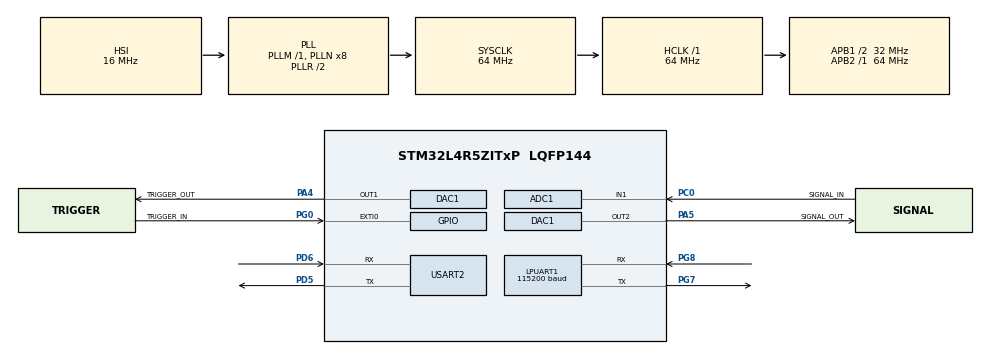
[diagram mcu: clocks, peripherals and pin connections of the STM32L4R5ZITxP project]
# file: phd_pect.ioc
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ADC1.Channel-0\#ChannelRegularConversion=ADC_CHANNEL_1
ADC1.ClockPrescaler=ADC_CLOCK_ASYNC_DIV8
ADC1.ContinuousConvMode=ENABLE
ADC1.DMAContinuousRequests=DISABLE
ADC1.NbrOfConversion=1
ADC1.NbrOfConversionFlag=1
ADC1.OffsetNumber-0\#ChannelRegularConversion=ADC_OFFSET_NONE
ADC1.Rank-0\#ChannelRegularConversion=1
ADC1.Resolution=ADC_RESOLUTION_8B
ADC1.SamplingTime-0\#ChannelRegularConversion=ADC_SAMPLETIME_47CYCLES_5
ADC1.master=1
DAC1.DAC_Channel-DAC_OUT2=DAC_CHANNEL_2
DAC1.DAC_Trigger-DAC_OUT1=DAC_TRIGGER_T1_TRGO
DAC1.DAC_Trigger-DAC_OUT2=DAC_TRIGGER_T1_TRGO
Dma.ADC1.2.Direction=DMA_PERIPH_TO_MEMORY
Dma.ADC1.2.EventEnable=DISABLE
Dma.ADC1.2.Instance=DMA1_Channel3
Dma.ADC1.2.MemDataAlignment=DMA_MDATAALIGN_BYTE
Dma.ADC1.2.MemInc=DMA_MINC_ENABLE
Dma.ADC1.2.Mode=DMA_NORMAL
Dma.ADC1.2.PeriphDataAlignment=DMA_PDATAALIGN_BYTE
Dma.ADC1.2.PeriphInc=DMA_PINC_DISABLE
Dma.ADC1.2.Polarity=HAL_DMAMUX_REQUEST_GEN_RISING
Dma.ADC1.2.Priority=DMA_PRIORITY_LOW
Dma.ADC1.2.RequestNumber=1
Dma.ADC1.2.SignalID=NONE
Dma.ADC1.2.SyncEnable=DISABLE
Dma.ADC1.2.SyncPolarity=HAL_DMAMUX_SYNC_NO_EVENT
Dma.ADC1.2.SyncRequestNumber=1
Dma.ADC1.2.SyncSignalID=NONE
Dma.DAC1_CH1.0.Direction=DMA_MEMORY_TO_PERIPH
Dma.DAC1_CH1.0.EventEnable=DISABLE
Dma.DAC1_CH1.0.Instance=DMA1_Channel1
Dma.DAC1_CH1.0.MemDataAlignment=DMA_MDATAALIGN_BYTE
Dma.DAC1_CH1.0.MemInc=DMA_MINC_ENABLE
Dma.DAC1_CH1.0.Mode=DMA_CIRCULAR
Dma.DAC1_CH1.0.PeriphDataAlignment=DMA_PDATAALIGN_BYTE
Dma.DAC1_CH1.0.PeriphInc=DMA_PINC_DISABLE
Dma.DAC1_CH1.0.Polarity=HAL_DMAMUX_REQUEST_GEN_RISING
Dma.DAC1_CH1.0.Priority=DMA_PRIORITY_HIGH
Dma.DAC1_CH1.0.RequestNumber=1
Dma.DAC1_CH1.0.SignalID=NONE
Dma.DAC1_CH1.0.SyncEnable=DISABLE
Dma.DAC1_CH1.0.SyncPolarity=HAL_DMAMUX_SYNC_NO_EVENT
Dma.DAC1_CH1.0.SyncRequestNumber=1
Dma.DAC1_CH1.0.SyncSignalID=NONE
Dma.DAC1_CH2.1.Direction=DMA_MEMORY_TO_PERIPH
Dma.DAC1_CH2.1.EventEnable=DISABLE
Dma.DAC1_CH2.1.Instance=DMA1_Channel2
Dma.DAC1_CH2.1.MemDataAlignment=DMA_MDATAALIGN_BYTE
Dma.DAC1_CH2.1.MemInc=DMA_MINC_ENABLE
Dma.DAC1_CH2.1.Mode=DMA_CIRCULAR
Dma.DAC1_CH2.1.PeriphDataAlignment=DMA_PDATAALIGN_BYTE
Dma.DAC1_CH2.1.PeriphInc=DMA_PINC_DISABLE
Dma.DAC1_CH2.1.Polarity=HAL_DMAMUX_REQUEST_GEN_RISING
Dma.DAC1_CH2.1.Priority=DMA_PRIORITY_HIGH
Dma.DAC1_CH2.1.RequestNumber=1
Dma.DAC1_CH2.1.SignalID=NONE
Dma.DAC1_CH2.1.SyncEnable=DISABLE
Dma.DAC1_CH2.1.SyncPolarity=HAL_DMAMUX_SYNC_NO_EVENT
Dma.DAC1_CH2.1.SyncRequestNumber=1
Dma.DAC1_CH2.1.SyncSignalID=NONE
Dma.LPUART1_RX.4.Direction=DMA_PERIPH_TO_MEMORY
Dma.LPUART1_RX.4.EventEnable=DISABLE
Dma.LPUART1_RX.4.Instance=DMA1_Channel5
Dma.LPUART1_RX.4.MemDataAlignment=DMA_MDATAALIGN_BYTE
Dma.LPUART1_RX.4.MemInc=DMA_MINC_ENABLE
Dma.LPUART1_RX.4.Mode=DMA_NORMAL
Dma.LPUART1_RX.4.PeriphDataAlignment=DMA_PDATAALIGN_BYTE
Dma.LPUART1_RX.4.PeriphInc=DMA_PINC_DISABLE
Dma.LPUART1_RX.4.Polarity=HAL_DMAMUX_REQUEST_GEN_RISING
Dma.LPUART1_RX.4.Priority=DMA_PRIORITY_LOW
Dma.LPUART1_RX.4.RequestNumber=1
Dma.LPUART1_RX.4.SignalID=NONE
Dma.LPUART1_RX.4.SyncEnable=DISABLE
Dma.LPUART1_RX.4.SyncPolarity=HAL_DMAMUX_SYNC_NO_EVENT
Dma.LPUART1_RX.4.SyncRequestNumber=1
Dma.LPUART1_RX.4.SyncSignalID=NONE
Dma.LPUART1_TX.3.Direction=DMA_MEMORY_TO_PERIPH
Dma.LPUART1_TX.3.EventEnable=DISABLE
Dma.LPUART1_TX.3.Instance=DMA1_Channel4
Dma.LPUART1_TX.3.MemDataAlignment=DMA_MDATAALIGN_BYTE
Dma.LPUART1_TX.3.MemInc=DMA_MINC_ENABLE
Dma.LPUART1_TX.3.Mode=DMA_NORMAL
Dma.LPUART1_TX.3.PeriphDataAlignment=DMA_PDATAALIGN_BYTE
Dma.LPUART1_TX.3.PeriphInc=DMA_PINC_DISABLE
Dma.LPUART1_TX.3.Polarity=HAL_DMAMUX_REQUEST_GEN_RISING
Dma.LPUART1_TX.3.Priority=DMA_PRIORITY_LOW
Dma.LPUART1_TX.3.RequestNumber=1
Dma.LPUART1_TX.3.SignalID=NONE
Dma.LPUART1_TX.3.SyncEnable=DISABLE
Dma.LPUART1_TX.3.SyncPolarity=HAL_DMAMUX_SYNC_NO_EVENT
Dma.LPUART1_TX.3.SyncRequestNumber=1
Dma.LPUART1_TX.3.SyncSignalID=NONE
Dma.Request0=DAC1_CH1
Dma.Request1=DAC1_CH2
Dma.Request2=ADC1
Dma.Request3=LPUART1_TX
Dma.Request4=LPUART1_RX
Dma.Request5=USART2_RX
Dma.Request6=USART2_TX
Dma.USART2_RX.5.Direction=DMA_PERIPH_TO_MEMORY
Dma.USART2_RX.5.EventEnable=DISABLE
Dma.USART2_RX.5.Instance=DMA1_Channel6
Dma.USART2_RX.5.MemDataAlignment=DMA_MDATAALIGN_BYTE
Dma.USART2_RX.5.MemInc=DMA_MINC_ENABLE
Dma.USART2_RX.5.Mode=DMA_NORMAL
Dma.USART2_RX.5.PeriphDataAlignment=DMA_PDATAALIGN_BYTE
Dma.USART2_RX.5.PeriphInc=DMA_PINC_DISABLE
Dma.USART2_RX.5.Polarity=HAL_DMAMUX_REQUEST_GEN_RISING
Dma.USART2_RX.5.Priority=DMA_PRIORITY_LOW
Dma.USART2_RX.5.RequestNumber=1
Dma.USART2_RX.5.SignalID=NONE
Dma.USART2_RX.5.SyncEnable=DISABLE
Dma.USART2_RX.5.SyncPolarity=HAL_DMAMUX_SYNC_NO_EVENT
Dma.USART2_RX.5.SyncRequestNumber=1
Dma.USART2_RX.5.SyncSignalID=NONE
Dma.USART2_TX.6.Direction=DMA_MEMORY_TO_PERIPH
Dma.USART2_TX.6.EventEnable=DISABLE
Dma.USART2_TX.6.Instance=DMA1_Channel7
Dma.USART2_TX.6.MemDataAlignment=DMA_MDATAALIGN_BYTE
Dma.USART2_TX.6.MemInc=DMA_MINC_ENABLE
Dma.USART2_TX.6.Mode=DMA_NORMAL
Dma.USART2_TX.6.PeriphDataAlignment=DMA_PDATAALIGN_BYTE
Dma.USART2_TX.6.PeriphInc=DMA_PINC_DISABLE
Dma.USART2_TX.6.Polarity=HAL_DMAMUX_REQUEST_GEN_RISING
Dma.USART2_TX.6.Priority=DMA_PRIORITY_LOW
Dma.USART2_TX.6.RequestNumber=1
Dma.USART2_TX.6.SignalID=NONE
Dma.USART2_TX.6.SyncEnable=DISABLE
Dma.USART2_TX.6.SyncPolarity=HAL_DMAMUX_SYNC_NO_EVENT
Dma.USART2_TX.6.SyncRequestNumber=1
Dma.USART2_TX.6.SyncSignalID=NONE
LPUART1.BaudRate=115200
LPUART1.WordLength=UART_WORDLENGTH_8B
Mcu.Family=STM32L4
Mcu.Name=STM32L4R5ZITxP
Mcu.Package=LQFP144
NVIC.ADC1_IRQn=true\:0\:0\:false\:false\:true\:true\:true\:true
NVIC.DMA1_Channel1_IRQn=true\:0\:0\:false\:false\:true\:false\:true\:true
NVIC.DMA1_Channel2_IRQn=true\:0\:0\:false\:false\:true\:false\:true\:true
NVIC.DMA1_Channel3_IRQn=true\:0\:0\:false\:false\:true\:false\:true\:true
NVIC.DMA1_Channel4_IRQn=true\:0\:0\:false\:false\:true\:false\:true\:true
NVIC.DMA1_Channel5_IRQn=true\:0\:0\:false\:false\:true\:false\:true\:true
NVIC.DMA1_Channel6_IRQn=true\:0\:0\:false\:false\:true\:false\:true\:true
NVIC.DMA1_Channel7_IRQn=true\:0\:0\:false\:false\:true\:false\:true\:true
NVIC.EXTI0_IRQn=true\:0\:0\:false\:false\:true\:true\:true\:true
NVIC.LPUART1_IRQn=true\:0\:0\:false\:false\:true\:true\:true\:true
NVIC.PriorityGroup=NVIC_PRIORITYGROUP_4
PA0.Signal=S_TIM2_CH1
PA1.Signal=ADCx_IN6
PA10.Signal=USB_OTG_FS_ID
PA13\ (JTMS/SWDIO).Mode=Serial_Wire
PA13\ (JTMS/SWDIO).Signal=SYS_JTMS-SWDIO
PA14\ (JTCK/SWCLK).Mode=Serial_Wire
PA14\ (JTCK/SWCLK).Signal=SYS_JTCK-SWCLK
PA3.Signal=ADCx_IN8
PA4.GPIO_Label=TRIGGER_OUT
PA4.Signal=COMP_DAC11_group
PA5.GPIO_Label=SIGNAL_OUT
PA5.Signal=COMP_DAC12_group
PA6.Signal=SPI1_MISO
PA7.Signal=SPI1_MOSI
PA8.Signal=USB_OTG_FS_SOF
PA9.Signal=USB_OTG_FS_VBUS
PB0.Signal=S_TIM3_CH3
PB1.Signal=ADCx_IN16
PB10.Signal=S_TIM2_CH3
PB12.Signal=SAI2_FS_A
PB13.Signal=SAI2_SCK_A
PB14.Signal=S_TIM15_CH1
PB15.Signal=SAI2_SD_A
PB2.Signal=COMP1_INP
PB3\ (JTDO/TRACESWO).Signal=SPI3_SCK
PB4\ (NJTRST).Signal=SPI3_MISO
PB5.Signal=SPI3_MOSI
PB6.Signal=COMP2_INP
PB8.GPIO_Pu=GPIO_PULLUP
PB8.Signal=I2C1_SCL
PB9.GPIO_Pu=GPIO_PULLUP
PB9.Signal=I2C1_SDA
PC0.GPIO_Label=SIGNAL_IN
PC0.Signal=ADCx_IN1
PC1.Signal=ADCx_IN2
PC10.Signal=SDMMC1_D2
PC11.Signal=SDMMC1_D3
PC12.Signal=SDMMC1_CK
PC13.Mode=SYS_WakeUp1
PC13.Signal=SYS_WKUP2
PC14-OSC32_IN\ (PC14).Mode=LSE-External-Oscillator
PC14-OSC32_IN\ (PC14).Signal=RCC_OSC32_IN
PC15-OSC32_OUT\ (PC15).Mode=LSE-External-Oscillator
PC15-OSC32_OUT\ (PC15).Signal=RCC_OSC32_OUT
PC2.Signal=ADCx_IN3
PC3.Signal=ADCx_IN4
PC4.Signal=ADCx_IN13
PC5.Signal=ADCx_IN14
PC6.Signal=SAI2_MCLK_A
PC7.Signal=S_TIM3_CH2
PC8.Signal=SDMMC1_D0
PC9.Signal=SDMMC1_D1
PD0.Signal=CAN1_RX
PD14.Signal=S_TIM4_CH3
PD15.Signal=S_TIM4_CH4
PD2.Signal=SDMMC1_CMD
PD3.Signal=USART2_CTS
PD4.Signal=USART2_RTS
PD5.Mode=Asynchronous
PD5.Signal=USART2_TX
PD6.Mode=Asynchronous
PD6.Signal=USART2_RX
PD8.Signal=USART3_TX
PD9.Signal=USART3_RX
PE0.Signal=S_TIM4_ETR
PE10.Signal=TIM1_CH2N
PE11.Signal=S_TIM1_CH2
PE12.Signal=TIM1_CH3N
PE13.Signal=S_TIM1_CH3
PE14.Signal=TIM1_BKIN2
PE15.Signal=TIM1_BKIN
PE2.Signal=SAI1_MCLK_A
PE3.Signal=SAI1_SD_B
PE7.Signal=S_TIM1_ETR
PE8.Signal=TIM1_CH1N
PE9.Signal=S_TIM1_CH1
PF0.GPIO_Pu=GPIO_PULLUP
PF0.Signal=I2C2_SDA
PF1.GPIO_Pu=GPIO_PULLUP
PF1.Signal=I2C2_SCL
PF2.GPIO_Pu=GPIO_PULLUP
PF2.Signal=I2C2_SMBA
PF7.Signal=SAI1_MCLK_B
PG0.GPIO_Label=TRIGGER_IN
PG0.Signal=GPXTI0
PG7.Mode=Asynchronous
PG7.Signal=LPUART1_TX
PG8.Mode=Asynchronous
PG8.Signal=LPUART1_RX
PH0-OSC_IN\ (PH0).Mode=HSE-External-Oscillator
PH0-OSC_IN\ (PH0).Signal=RCC_OSC_IN
PH1-OSC_OUT\ (PH1).Mode=HSE-External-Oscillator
PH1-OSC_OUT\ (PH1).Signal=RCC_OSC_OUT
ProjectManager.HeapSize=0x800
ProjectManager.StackSize=0x800
ProjectManager.TargetToolchain=STM32CubeIDE
RCC.ADCFreq_Value=64000000
RCC.AHBFreq_Value=64000000
RCC.APB1CLKDivider=RCC_HCLK_DIV2
RCC.APB1Freq_Value=32000000
RCC.APB1TimFreq_Value=64000000
RCC.APB2Freq_Value=64000000
RCC.APB2TimFreq_Value=64000000
RCC.CK48CLockSelection=RCC_USBCLKSOURCE_HSI48
RCC.CortexFreq_Value=64000000
RCC.HCLKFreq_Value=64000000
RCC.HSE_VALUE=8000000
RCC.HSI48_VALUE=48000000
RCC.HSI_VALUE=16000000
RCC.MSIClockRange=RCC_MSIRANGE_8
RCC.MSI_VALUE=16000000
RCC.PLLMUL=RCC_PLL_MUL9
RCC.PLLSourceVirtual=RCC_PLLSOURCE_HSI
RCC.PRESCALERUSB=RCC_USBCLKSOURCE_PLL_DIV1_5
RCC.SYSCLKFreq_VALUE=64000000
RCC.SYSCLKSource=RCC_SYSCLKSOURCE_PLLCLK
RCC.SYSCLKSourceVirtual=RCC_SYSCLKSOURCE_PLLCLK
RCC.USBFreq_Value=48000000
RCC.VCOOutputFreq_Value=128000000
SH.ADCx_IN1.0=ADC1_IN1,IN1-Single-Ended
SH.ADCx_IN13.0=ADC1_IN13
SH.ADCx_IN14.0=ADC1_IN14
SH.ADCx_IN16.0=ADC1_IN16
SH.ADCx_IN2.0=ADC1_IN2
SH.ADCx_IN3.0=ADC1_IN3
SH.ADCx_IN4.0=ADC1_IN4
SH.ADCx_IN6.0=ADC1_IN6
SH.ADCx_IN8.0=ADC1_IN8
SH.COMP_DAC11_group.0=DAC1_OUT1,DAC_OUT1
SH.COMP_DAC12_group.0=DAC1_OUT2,DAC_OUT2
SH.S_TIM15_CH1.0=TIM15_CH1
SH.S_TIM1_CH1.0=TIM1_CH1
SH.S_TIM1_CH2.0=TIM1_CH2
SH.S_TIM1_CH3.0=TIM1_CH3
SH.S_TIM1_ETR.0=TIM1_ETR
SH.S_TIM2_CH1.0=TIM2_CH1
SH.S_TIM2_CH3.0=TIM2_CH3
SH.S_TIM3_CH2.0=TIM3_CH2
SH.S_TIM3_CH3.0=TIM3_CH3
SH.S_TIM4_CH3.0=TIM4_CH3
SH.S_TIM4_CH4.0=TIM4_CH4
SH.S_TIM4_ETR.0=TIM4_ETR
STMicroelectronics.X-CUBE-AI.8.1.0.ActivationBufferSizeList=65992
STMicroelectronics.X-CUBE-AI.8.1.0.ActivationBuffers=pool0
STMicroelectronics.X-CUBE-AI.8.1.0.ActivationNames=pool0
STMicroelectronics.X-CUBE-AI.8.1.0.ActivationSizes=AI_NETWORK_DATA_ACTIVATION_1_SIZE
STMicroelectronics.X-CUBE-AI.8.1.0.HeapSize=0x800
STMicroelectronics.X-CUBE-AI.8.1.0.InternalRamActivationBufferMaxSize=AI_NETWORK_DATA_ACTIVATIONS_SIZE
STMicroelectronics.X-CUBE-AI.8.1.0.LatestDirectoryUsed-82cd0095fdd4a901a3c301f4ca766c086ad259d40a53a4f20882cec86785ef64=C\:\\Users\\admin\\Desktop
STMicroelectronics.X-CUBE-AI.8.1.0.MaximumNumberOfInputLayer=1
STMicroelectronics.X-CUBE-AI.8.1.0.MaximumNumberOfOutputLayer=1
STMicroelectronics.X-CUBE-AI.8.1.0.MaximumSizeOfInputLayer=1
STMicroelectronics.X-CUBE-AI.8.1.0.MaximumSizeOfOutputLayer=1
STMicroelectronics.X-CUBE-AI.8.1.0.ModelActualCompression-82cd0095fdd4a901a3c301f4ca766c086ad259d40a53a4f20882cec86785ef64=0.0
STMicroelectronics.X-CUBE-AI.8.1.0.ModelActualCompression-88c5964a47711c70269f32515e8612c6e91d3b238968c062fb0df6d5431c2e7c=0.0
STMicroelectronics.X-CUBE-AI.8.1.0.ModelCompression-82cd0095fdd4a901a3c301f4ca766c086ad259d40a53a4f20882cec86785ef64=None
STMicroelectronics.X-CUBE-AI.8.1.0.ModelFlashOccupation-82cd0095fdd4a901a3c301f4ca766c086ad259d40a53a4f20882cec86785ef64=703998
STMicroelectronics.X-CUBE-AI.8.1.0.ModelFlashOccupation-88c5964a47711c70269f32515e8612c6e91d3b238968c062fb0df6d5431c2e7c=1427002
STMicroelectronics.X-CUBE-AI.8.1.0.ModelHashList=82cd0095fdd4a901a3c301f4ca766c086ad259d40a53a4f20882cec86785ef64
STMicroelectronics.X-CUBE-AI.8.1.0.ModelKind-82cd0095fdd4a901a3c301f4ca766c086ad259d40a53a4f20882cec86785ef64=TFLITE
STMicroelectronics.X-CUBE-AI.8.1.0.ModelMacc-82cd0095fdd4a901a3c301f4ca766c086ad259d40a53a4f20882cec86785ef64=1241392
STMicroelectronics.X-CUBE-AI.8.1.0.ModelMacc-88c5964a47711c70269f32515e8612c6e91d3b238968c062fb0df6d5431c2e7c=3358896
STMicroelectronics.X-CUBE-AI.8.1.0.ModelName-82cd0095fdd4a901a3c301f4ca766c086ad259d40a53a4f20882cec86785ef64=network
STMicroelectronics.X-CUBE-AI.8.1.0.ModelNameList=network
STMicroelectronics.X-CUBE-AI.8.1.0.ModelRamOccupation-82cd0095fdd4a901a3c301f4ca766c086ad259d40a53a4f20882cec86785ef64=65992
STMicroelectronics.X-CUBE-AI.8.1.0.ModelRamOccupation-88c5964a47711c70269f32515e8612c6e91d3b238968c062fb0df6d5431c2e7c=67196
STMicroelectronics.X-CUBE-AI.8.1.0.ModelStructureFile-82cd0095fdd4a901a3c301f4ca766c086ad259d40a53a4f20882cec86785ef64=C\:\\Users\\admin\\Desktop\\NDT_model (1).tflite
STMicroelectronics.X-CUBE-AI.8.1.0.ModelType-82cd0095fdd4a901a3c301f4ca766c086ad259d40a53a4f20882cec86785ef64=STM32Cube.AI runtime
STMicroelectronics.X-CUBE-AI.8.1.0.ReadyForCodeGeneration=true
STMicroelectronics.X-CUBE-AI.8.1.0.StackSize=0x800
STMicroelectronics.X-CUBE-AI.8.1.0.WorkingBufferStartAddrList=0xFFFFFFFF
STMicroelectronics.X-CUBE-AI.8.1.0.XAaCUBEAaAICcArtificialOoIntelligenceJjCore=true
STMicroelectronics.X-CUBE-AI.8.1.0.copyWeightToRam=false
STMicroelectronics.X-CUBE-AI.8.1.0.copyWeightToRam-82cd0095fdd4a901a3c301f4ca766c086ad259d40a53a4f20882cec86785ef64=false
STMicroelectronics.X-CUBE-AI.8.1.0.customLayerConfigEnabled=false
STMicroelectronics.X-CUBE-AI.8.1.0.customLayerConfigEnabled-82cd0095fdd4a901a3c301f4ca766c086ad259d40a53a4f20882cec86785ef64=false
STMicroelectronics.X-CUBE-AI.8.1.0.noOnnxIoTranspose=false
STMicroelectronics.X-CUBE-AI.8.1.0.noOnnxIoTranspose-82cd0095fdd4a901a3c301f4ca766c086ad259d40a53a4f20882cec86785ef64=false
STMicroelectronics.X-CUBE-AI.8.1.0.useInputAllocation=true
STMicroelectronics.X-CUBE-AI.8.1.0.useInputAllocation-82cd0095fdd4a901a3c301f4ca766c086ad259d40a53a4f20882cec86785ef64=true
STMicroelectronics.X-CUBE-AI.8.1.0.useOutputAllocation=true
STMicroelectronics.X-CUBE-AI.8.1.0.useOutputAllocation-82cd0095fdd4a901a3c301f4ca766c086ad259d40a53a4f20882cec86785ef64=true
TIM1.Period=31
TIM1.Prescaler=9
TIM1.TIM_MasterOutputTrigger=TIM_TRGO_UPDATE
TIM1.TIM_MasterOutputTrigger2=TIM_TRGO2_UPDATE
USART2.VirtualMode-Asynchronous=VM_ASYNC
VP_CRC_VS_CRC.Mode=CRC_Activate
VP_STMicroelectronics.X-CUBE-AI_VS_ArtificialOoIntelligenceJjXAaCUBEAaAI_8.1.0.Mode=ArtificialOoIntelligenceJjXAaCUBEAaAI
VP_TIM1_VS_ClockSourceINT.Mode=Internal
board=NUCLEO-L4R5ZI-P

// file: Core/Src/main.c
/* USER CODE BEGIN Header */
/**
  ******************************************************************************
  * @file           : main.c
  * @brief          : Main program body
  ******************************************************************************
  * @attention
  *
  * Copyright (c) 2023 STMicroelectronics.
  * All rights reserved.
  *
  * This software is licensed under terms that can be found in the LICENSE file
  * in the root directory of this software component.
  * If no LICENSE file comes with this software, it is provided AS-IS.
  *
  ******************************************************************************
  */
/* USER CODE END Header */
#include "main.h"

/* USER CODE BEGIN Includes */
#include "controller.h"

/* USER CODE END Includes */

ADC_HandleTypeDef hadc1;
DMA_HandleTypeDef hdma_adc1;

CRC_HandleTypeDef hcrc;

DAC_HandleTypeDef hdac1;
DMA_HandleTypeDef hdma_dac1_ch1;
DMA_HandleTypeDef hdma_dac1_ch2;

UART_HandleTypeDef hlpuart1;
UART_HandleTypeDef huart2;
DMA_HandleTypeDef hdma_lpuart1_tx;
DMA_HandleTypeDef hdma_lpuart1_rx;
DMA_HandleTypeDef hdma_usart2_rx;
DMA_HandleTypeDef hdma_usart2_tx;

TIM_HandleTypeDef htim1;

void SystemClock_Config(void);
static void MX_GPIO_Init(void);
static void MX_DMA_Init(void);
static void MX_LPUART1_UART_Init(void);
static void MX_ADC1_Init(void);
static void MX_DAC1_Init(void);
static void MX_TIM1_Init(void);
static void MX_CRC_Init(void);
static void MX_USART2_UART_Init(void);

int main(void)
{

  /* MCU Configuration--------------------------------------------------------*/

  /* Reset of all peripherals, Initializes the Flash interface and the Systick. */
  HAL_Init();

  /* Configure the system clock */
  SystemClock_Config();

  /* Initialize all configured peripherals */
  MX_GPIO_Init();
  MX_DMA_Init();
  MX_LPUART1_UART_Init();
  MX_ADC1_Init();
  MX_DAC1_Init();
  MX_TIM1_Init();
  MX_CRC_Init();
  MX_USART2_UART_Init();
  /* USER CODE BEGIN 2 */
  con_init(&hadc1, &hdac1, &htim1, &hlpuart1);
  con_start();
  /* USER CODE END 2 */

  /* Infinite loop */
  while (1)
  {

    /* USER CODE BEGIN 3 */
  }
  con_destroy();
  /* USER CODE END 3 */
}

void SystemClock_Config(void)
{
  RCC_OscInitTypeDef RCC_OscInitStruct = {0};
  RCC_ClkInitTypeDef RCC_ClkInitStruct = {0};

  /** Configure the main internal regulator output voltage
  */
  if (HAL_PWREx_ControlVoltageScaling(PWR_REGULATOR_VOLTAGE_SCALE1) != HAL_OK)
  {
    Error_Handler();
  }

  /** Initializes the RCC Oscillators according to the specified parameters
  * in the RCC_OscInitTypeDef structure.
  */
  RCC_OscInitStruct.OscillatorType = RCC_OSCILLATORTYPE_HSI;
  RCC_OscInitStruct.HSIState = RCC_HSI_ON;
  RCC_OscInitStruct.HSICalibrationValue = RCC_HSICALIBRATION_DEFAULT;
  RCC_OscInitStruct.PLL.PLLState = RCC_PLL_ON;
  RCC_OscInitStruct.PLL.PLLSource = RCC_PLLSOURCE_HSI;
  RCC_OscInitStruct.PLL.PLLM = 1;
  RCC_OscInitStruct.PLL.PLLN = 8;
  RCC_OscInitStruct.PLL.PLLP = RCC_PLLP_DIV2;
  RCC_OscInitStruct.PLL.PLLQ = RCC_PLLQ_DIV2;
  RCC_OscInitStruct.PLL.PLLR = RCC_PLLR_DIV2;
  if (HAL_RCC_OscConfig(&RCC_OscInitStruct) != HAL_OK)
  {
    Error_Handler();
  }

  /** Initializes the CPU, AHB and APB buses clocks
  */
  RCC_ClkInitStruct.ClockType = RCC_CLOCKTYPE_HCLK|RCC_CLOCKTYPE_SYSCLK
                              |RCC_CLOCKTYPE_PCLK1|RCC_CLOCKTYPE_PCLK2;
  RCC_ClkInitStruct.SYSCLKSource = RCC_SYSCLKSOURCE_PLLCLK;
  RCC_ClkInitStruct.AHBCLKDivider = RCC_SYSCLK_DIV1;
  RCC_ClkInitStruct.APB1CLKDivider = RCC_HCLK_DIV2;
  RCC_ClkInitStruct.APB2CLKDivider = RCC_HCLK_DIV1;

  if (HAL_RCC_ClockConfig(&RCC_ClkInitStruct, FLASH_LATENCY_3) != HAL_OK)
  {
    Error_Handler();
  }
}

static void MX_ADC1_Init(void)
{

  ADC_ChannelConfTypeDef sConfig = {0};

  /** Common config
  */
  hadc1.Instance = ADC1;
  hadc1.Init.ClockPrescaler = ADC_CLOCK_ASYNC_DIV8;
  hadc1.Init.Resolution = ADC_RESOLUTION_8B;
  hadc1.Init.DataAlign = ADC_DATAALIGN_RIGHT;
  hadc1.Init.ScanConvMode = ADC_SCAN_DISABLE;
  hadc1.Init.EOCSelection = ADC_EOC_SINGLE_CONV;
  hadc1.Init.LowPowerAutoWait = DISABLE;
  hadc1.Init.ContinuousConvMode = ENABLE;
  hadc1.Init.NbrOfConversion = 1;
  hadc1.Init.DiscontinuousConvMode = DISABLE;
  hadc1.Init.ExternalTrigConv = ADC_SOFTWARE_START;
  hadc1.Init.ExternalTrigConvEdge = ADC_EXTERNALTRIGCONVEDGE_NONE;
  hadc1.Init.DMAContinuousRequests = DISABLE;
  hadc1.Init.Overrun = ADC_OVR_DATA_PRESERVED;
  hadc1.Init.OversamplingMode = DISABLE;
  if (HAL_ADC_Init(&hadc1) != HAL_OK)
  {
    Error_Handler();
  }

  /** Configure Regular Channel
  */
  sConfig.Channel = ADC_CHANNEL_1;
  sConfig.Rank = ADC_REGULAR_RANK_1;
  sConfig.SamplingTime = ADC_SAMPLETIME_47CYCLES_5;
  sConfig.SingleDiff = ADC_SINGLE_ENDED;
  sConfig.OffsetNumber = ADC_OFFSET_NONE;
  sConfig.Offset = 0;
  if (HAL_ADC_ConfigChannel(&hadc1, &sConfig) != HAL_OK)
  {
    Error_Handler();
  }

}

static void MX_CRC_Init(void)
{

  hcrc.Instance = CRC;
  hcrc.Init.DefaultPolynomialUse = DEFAULT_POLYNOMIAL_ENABLE;
  hcrc.Init.DefaultInitValueUse = DEFAULT_INIT_VALUE_ENABLE;
  hcrc.Init.InputDataInversionMode = CRC_INPUTDATA_INVERSION_NONE;
  hcrc.Init.OutputDataInversionMode = CRC_OUTPUTDATA_INVERSION_DISABLE;
  hcrc.InputDataFormat = CRC_INPUTDATA_FORMAT_BYTES;
  if (HAL_CRC_Init(&hcrc) != HAL_OK)
  {
    Error_Handler();
  }

}

static void MX_DAC1_Init(void)
{

  DAC_ChannelConfTypeDef sConfig = {0};

  /** DAC Initialization
  */
  hdac1.Instance = DAC1;
  if (HAL_DAC_Init(&hdac1) != HAL_OK)
  {
    Error_Handler();
  }

  /** DAC channel OUT1 config
  */
  sConfig.DAC_SampleAndHold = DAC_SAMPLEANDHOLD_DISABLE;
  sConfig.DAC_Trigger = DAC_TRIGGER_T1_TRGO;
  sConfig.DAC_HighFrequency = DAC_HIGH_FREQUENCY_INTERFACE_MODE_DISABLE;
  sConfig.DAC_OutputBuffer = DAC_OUTPUTBUFFER_ENABLE;
  sConfig.DAC_ConnectOnChipPeripheral = DAC_CHIPCONNECT_DISABLE;
  sConfig.DAC_UserTrimming = DAC_TRIMMING_FACTORY;
  if (HAL_DAC_ConfigChannel(&hdac1, &sConfig, DAC_CHANNEL_1) != HAL_OK)
  {
    Error_Handler();
  }

  /** DAC channel OUT2 config
  */
  if (HAL_DAC_ConfigChannel(&hdac1, &sConfig, DAC_CHANNEL_2) != HAL_OK)
  {
    Error_Handler();
  }

}

static void MX_LPUART1_UART_Init(void)
{

  hlpuart1.Instance = LPUART1;
  hlpuart1.Init.BaudRate = 115200;
  hlpuart1.Init.WordLength = UART_WORDLENGTH_8B;
  hlpuart1.Init.StopBits = UART_STOPBITS_1;
  hlpuart1.Init.Parity = UART_PARITY_NONE;
  hlpuart1.Init.Mode = UART_MODE_TX_RX;
  hlpuart1.Init.HwFlowCtl = UART_HWCONTROL_NONE;
  hlpuart1.Init.OneBitSampling = UART_ONE_BIT_SAMPLE_DISABLE;
  hlpuart1.Init.ClockPrescaler = UART_PRESCALER_DIV1;
  hlpuart1.AdvancedInit.AdvFeatureInit = UART_ADVFEATURE_NO_INIT;
  hlpuart1.FifoMode = UART_FIFOMODE_DISABLE;
  if (HAL_UART_Init(&hlpuart1) != HAL_OK)
  {
    Error_Handler();
  }
  if (HAL_UARTEx_SetTxFifoThreshold(&hlpuart1, UART_TXFIFO_THRESHOLD_1_8) != HAL_OK)
  {
    Error_Handler();
  }
  if (HAL_UARTEx_SetRxFifoThreshold(&hlpuart1, UART_RXFIFO_THRESHOLD_1_8) != HAL_OK)
  {
    Error_Handler();
  }
  if (HAL_UARTEx_DisableFifoMode(&hlpuart1) != HAL_OK)
  {
    Error_Handler();
  }

}

static void MX_USART2_UART_Init(void)
{

  huart2.Instance = USART2;
  huart2.Init.BaudRate = 115200;
  huart2.Init.WordLength = UART_WORDLENGTH_8B;
  huart2.Init.StopBits = UART_STOPBITS_1;
  huart2.Init.Parity = UART_PARITY_NONE;
  huart2.Init.Mode = UART_MODE_TX_RX;
  huart2.Init.HwFlowCtl = UART_HWCONTROL_NONE;
  huart2.Init.OverSampling = UART_OVERSAMPLING_16;
  huart2.Init.OneBitSampling = UART_ONE_BIT_SAMPLE_DISABLE;
  huart2.Init.ClockPrescaler = UART_PRESCALER_DIV1;
  huart2.AdvancedInit.AdvFeatureInit = UART_ADVFEATURE_NO_INIT;
  if (HAL_UART_Init(&huart2) != HAL_OK)
  {
    Error_Handler();
  }
  if (HAL_UARTEx_SetTxFifoThreshold(&huart2, UART_TXFIFO_THRESHOLD_1_8) != HAL_OK)
  {
    Error_Handler();
  }
  if (HAL_UARTEx_SetRxFifoThreshold(&huart2, UART_RXFIFO_THRESHOLD_1_8) != HAL_OK)
  {
    Error_Handler();
  }
  if (HAL_UARTEx_DisableFifoMode(&huart2) != HAL_OK)
  {
    Error_Handler();
  }

}

static void MX_TIM1_Init(void)
{

  TIM_ClockConfigTypeDef sClockSourceConfig = {0};
  TIM_MasterConfigTypeDef sMasterConfig = {0};

  htim1.Instance = TIM1;
  htim1.Init.Prescaler = 9;
  htim1.Init.CounterMode = TIM_COUNTERMODE_UP;
  htim1.Init.Period = 31;
  htim1.Init.ClockDivision = TIM_CLOCKDIVISION_DIV1;
  htim1.Init.RepetitionCounter = 0;
  htim1.Init.AutoReloadPreload = TIM_AUTORELOAD_PRELOAD_DISABLE;
  if (HAL_TIM_Base_Init(&htim1) != HAL_OK)
  {
    Error_Handler();
  }
  sClockSourceConfig.ClockSource = TIM_CLOCKSOURCE_INTERNAL;
  if (HAL_TIM_ConfigClockSource(&htim1, &sClockSourceConfig) != HAL_OK)
  {
    Error_Handler();
  }
  sMasterConfig.MasterOutputTrigger = TIM_TRGO_UPDATE;
  sMasterConfig.MasterOutputTrigger2 = TIM_TRGO2_UPDATE;
  sMasterConfig.MasterSlaveMode = TIM_MASTERSLAVEMODE_DISABLE;
  if (HAL_TIMEx_MasterConfigSynchronization(&htim1, &sMasterConfig) != HAL_OK)
  {
    Error_Handler();
  }

}

static void MX_DMA_Init(void)
{

  /* DMA controller clock enable */
  __HAL_RCC_DMAMUX1_CLK_ENABLE();
  __HAL_RCC_DMA1_CLK_ENABLE();

  /* DMA interrupt init */
  /* DMA1_Channel1_IRQn interrupt configuration */
  HAL_NVIC_SetPriority(DMA1_Channel1_IRQn, 0, 0);
  HAL_NVIC_EnableIRQ(DMA1_Channel1_IRQn);
  /* DMA1_Channel2_IRQn interrupt configuration */
  HAL_NVIC_SetPriority(DMA1_Channel2_IRQn, 0, 0);
  HAL_NVIC_EnableIRQ(DMA1_Channel2_IRQn);
  /* DMA1_Channel3_IRQn interrupt configuration */
  HAL_NVIC_SetPriority(DMA1_Channel3_IRQn, 0, 0);
  HAL_NVIC_EnableIRQ(DMA1_Channel3_IRQn);
  /* DMA1_Channel4_IRQn interrupt configuration */
  HAL_NVIC_SetPriority(DMA1_Channel4_IRQn, 0, 0);
  HAL_NVIC_EnableIRQ(DMA1_Channel4_IRQn);
  /* DMA1_Channel5_IRQn interrupt configuration */
  HAL_NVIC_SetPriority(DMA1_Channel5_IRQn, 0, 0);
  HAL_NVIC_EnableIRQ(DMA1_Channel5_IRQn);
  /* DMA1_Channel6_IRQn interrupt configuration */
  HAL_NVIC_SetPriority(DMA1_Channel6_IRQn, 0, 0);
  HAL_NVIC_EnableIRQ(DMA1_Channel6_IRQn);
  /* DMA1_Channel7_IRQn interrupt configuration */
  HAL_NVIC_SetPriority(DMA1_Channel7_IRQn, 0, 0);
  HAL_NVIC_EnableIRQ(DMA1_Channel7_IRQn);

}

static void MX_GPIO_Init(void)
{
  GPIO_InitTypeDef GPIO_InitStruct = {0};

  /* GPIO Ports Clock Enable */
  __HAL_RCC_GPIOE_CLK_ENABLE();
  __HAL_RCC_GPIOC_CLK_ENABLE();
  __HAL_RCC_GPIOF_CLK_ENABLE();
  __HAL_RCC_GPIOH_CLK_ENABLE();
  __HAL_RCC_GPIOA_CLK_ENABLE();
  __HAL_RCC_GPIOB_CLK_ENABLE();
  __HAL_RCC_GPIOG_CLK_ENABLE();
  __HAL_RCC_GPIOD_CLK_ENABLE();
  HAL_PWREx_EnableVddIO2();

  /*Configure GPIO pins : PE2 PE3 */
  GPIO_InitStruct.Pin = GPIO_PIN_2|GPIO_PIN_3;
  GPIO_InitStruct.Mode = GPIO_MODE_AF_PP;
  GPIO_InitStruct.Pull = GPIO_NOPULL;
  GPIO_InitStruct.Speed = GPIO_SPEED_FREQ_LOW;
  GPIO_InitStruct.Alternate = GPIO_AF13_SAI1;
  HAL_GPIO_Init(GPIOE, &GPIO_InitStruct);

  /*Configure GPIO pins : PF0 PF1 PF2 */
  GPIO_InitStruct.Pin = GPIO_PIN_0|GPIO_PIN_1|GPIO_PIN_2;
  GPIO_InitStruct.Mode = GPIO_MODE_AF_OD;
  GPIO_InitStruct.Pull = GPIO_PULLUP;
  GPIO_InitStruct.Speed = GPIO_SPEED_FREQ_VERY_HIGH;
  GPIO_InitStruct.Alternate = GPIO_AF4_I2C2;
  HAL_GPIO_Init(GPIOF, &GPIO_InitStruct);

  /*Configure GPIO pin : PF7 */
  GPIO_InitStruct.Pin = GPIO_PIN_7;
  GPIO_InitStruct.Mode = GPIO_MODE_AF_PP;
  GPIO_InitStruct.Pull = GPIO_NOPULL;
  GPIO_InitStruct.Speed = GPIO_SPEED_FREQ_LOW;
  GPIO_InitStruct.Alternate = GPIO_AF13_SAI1;
  HAL_GPIO_Init(GPIOF, &GPIO_InitStruct);

  /*Configure GPIO pin : PA0 */
  GPIO_InitStruct.Pin = GPIO_PIN_0;
  GPIO_InitStruct.Mode = GPIO_MODE_AF_PP;
  GPIO_InitStruct.Pull = GPIO_NOPULL;
  GPIO_InitStruct.Speed = GPIO_SPEED_FREQ_LOW;
  GPIO_InitStruct.Alternate = GPIO_AF1_TIM2;
  HAL_GPIO_Init(GPIOA, &GPIO_InitStruct);

  /*Configure GPIO pins : PA6 PA7 */
  GPIO_InitStruct.Pin = GPIO_PIN_6|GPIO_PIN_7;
  GPIO_InitStruct.Mode = GPIO_MODE_AF_PP;
  GPIO_InitStruct.Pull = GPIO_NOPULL;
  GPIO_InitStruct.Speed = GPIO_SPEED_FREQ_VERY_HIGH;
  GPIO_InitStruct.Alternate = GPIO_AF5_SPI1;
  HAL_GPIO_Init(GPIOA, &GPIO_InitStruct);

  /*Configure GPIO pin : PB0 */
  GPIO_InitStruct.Pin = GPIO_PIN_0;
  GPIO_InitStruct.Mode = GPIO_MODE_AF_PP;
  GPIO_InitStruct.Pull = GPIO_NOPULL;
  GPIO_InitStruct.Speed = GPIO_SPEED_FREQ_LOW;
  GPIO_InitStruct.Alternate = GPIO_AF2_TIM3;
  HAL_GPIO_Init(GPIOB, &GPIO_InitStruct);

  /*Configure GPIO pins : PB2 PB6 */
  GPIO_InitStruct.Pin = GPIO_PIN_2|GPIO_PIN_6;
  GPIO_InitStruct.Mode = GPIO_MODE_ANALOG;
  GPIO_InitStruct.Pull = GPIO_NOPULL;
  HAL_GPIO_Init(GPIOB, &GPIO_InitStruct);

  /*Configure GPIO pin : TRIGGER_IN_Pin */
  GPIO_InitStruct.Pin = TRIGGER_IN_Pin;
  GPIO_InitStruct.Mode = GPIO_MODE_IT_RISING;
  GPIO_InitStruct.Pull = GPIO_NOPULL;
  HAL_GPIO_Init(TRIGGER_IN_GPIO_Port, &GPIO_InitStruct);

  /*Configure GPIO pin : PB10 */
  GPIO_InitStruct.Pin = GPIO_PIN_10;
  GPIO_InitStruct.Mode = GPIO_MODE_AF_PP;
  GPIO_InitStruct.Pull = GPIO_NOPULL;
  GPIO_InitStruct.Speed = GPIO_SPEED_FREQ_LOW;
  GPIO_InitStruct.Alternate = GPIO_AF1_TIM2;
  HAL_GPIO_Init(GPIOB, &GPIO_InitStruct);

  /*Configure GPIO pins : PB12 PB13 PB15 */
  GPIO_InitStruct.Pin = GPIO_PIN_12|GPIO_PIN_13|GPIO_PIN_15;
  GPIO_InitStruct.Mode = GPIO_MODE_AF_PP;
  GPIO_InitStruct.Pull = GPIO_NOPULL;
  GPIO_InitStruct.Speed = GPIO_SPEED_FREQ_LOW;
  GPIO_InitStruct.Alternate = GPIO_AF13_SAI2;
  HAL_GPIO_Init(GPIOB, &GPIO_InitStruct);

  /*Configure GPIO pin : PB14 */
  GPIO_InitStruct.Pin = GPIO_PIN_14;
  GPIO_InitStruct.Mode = GPIO_MODE_AF_PP;
  GPIO_InitStruct.Pull = GPIO_NOPULL;
  GPIO_InitStruct.Speed = GPIO_SPEED_FREQ_LOW;
  GPIO_InitStruct.Alternate = GPIO_AF14_TIM15;
  HAL_GPIO_Init(GPIOB, &GPIO_InitStruct);

  /*Configure GPIO pins : PD8 PD9 */
  GPIO_InitStruct.Pin = GPIO_PIN_8|GPIO_PIN_9;
  GPIO_InitStruct.Mode = GPIO_MODE_AF_PP;
  GPIO_InitStruct.Pull = GPIO_NOPULL;
  GPIO_InitStruct.Speed = GPIO_SPEED_FREQ_VERY_HIGH;
  GPIO_InitStruct.Alternate = GPIO_AF7_USART3;
  HAL_GPIO_Init(GPIOD, &GPIO_InitStruct);

  /*Configure GPIO pins : PD14 PD15 */
  GPIO_InitStruct.Pin = GPIO_PIN_14|GPIO_PIN_15;
  GPIO_InitStruct.Mode = GPIO_MODE_AF_PP;
  GPIO_InitStruct.Pull = GPIO_NOPULL;
  GPIO_InitStruct.Speed = GPIO_SPEED_FREQ_LOW;
  GPIO_InitStruct.Alternate = GPIO_AF2_TIM4;
  HAL_GPIO_Init(GPIOD, &GPIO_InitStruct);

  /*Configure GPIO pin : PC6 */
  GPIO_InitStruct.Pin = GPIO_PIN_6;
  GPIO_InitStruct.Mode = GPIO_MODE_AF_PP;
  GPIO_InitStruct.Pull = GPIO_NOPULL;
  GPIO_InitStruct.Speed = GPIO_SPEED_FREQ_LOW;
  GPIO_InitStruct.Alternate = GPIO_AF13_SAI2;
  HAL_GPIO_Init(GPIOC, &GPIO_InitStruct);

  /*Configure GPIO pin : PC7 */
  GPIO_InitStruct.Pin = GPIO_PIN_7;
  GPIO_InitStruct.Mode = GPIO_MODE_AF_PP;
  GPIO_InitStruct.Pull = GPIO_NOPULL;
  GPIO_InitStruct.Speed = GPIO_SPEED_FREQ_LOW;
  GPIO_InitStruct.Alternate = GPIO_AF2_TIM3;
  HAL_GPIO_Init(GPIOC, &GPIO_InitStruct);

  /*Configure GPIO pins : PC8 PC9 PC10 PC11
                           PC12 */
  GPIO_InitStruct.Pin = GPIO_PIN_8|GPIO_PIN_9|GPIO_PIN_10|GPIO_PIN_11
                          |GPIO_PIN_12;
  GPIO_InitStruct.Mode = GPIO_MODE_AF_PP;
  GPIO_InitStruct.Pull = GPIO_NOPULL;
  GPIO_InitStruct.Speed = GPIO_SPEED_FREQ_VERY_HIGH;
  GPIO_InitStruct.Alternate = GPIO_AF12_SDMMC1;
  HAL_GPIO_Init(GPIOC, &GPIO_InitStruct);

  /*Configure GPIO pins : PA8 PA10 */
  GPIO_InitStruct.Pin = GPIO_PIN_8|GPIO_PIN_10;
  GPIO_InitStruct.Mode = GPIO_MODE_AF_PP;
  GPIO_InitStruct.Pull = GPIO_NOPULL;
  GPIO_InitStruct.Speed = GPIO_SPEED_FREQ_VERY_HIGH;
  GPIO_InitStruct.Alternate = GPIO_AF10_OTG_FS;
  HAL_GPIO_Init(GPIOA, &GPIO_InitStruct);

  /*Configure GPIO pin : PA9 */
  GPIO_InitStruct.Pin = GPIO_PIN_9;
  GPIO_InitStruct.Mode = GPIO_MODE_INPUT;
  GPIO_InitStruct.Pull = GPIO_NOPULL;
  HAL_GPIO_Init(GPIOA, &GPIO_InitStruct);

  /*Configure GPIO pin : PD0 */
  GPIO_InitStruct.Pin = GPIO_PIN_0;
  GPIO_InitStruct.Mode = GPIO_MODE_AF_PP;
  GPIO_InitStruct.Pull = GPIO_NOPULL;
  GPIO_InitStruct.Speed = GPIO_SPEED_FREQ_VERY_HIGH;
  GPIO_InitStruct.Alternate = GPIO_AF9_CAN1;
  HAL_GPIO_Init(GPIOD, &GPIO_InitStruct);

  /*Configure GPIO pin : PD2 */
  GPIO_InitStruct.Pin = GPIO_PIN_2;
  GPIO_InitStruct.Mode = GPIO_MODE_AF_PP;
  GPIO_InitStruct.Pull = GPIO_NOPULL;
  GPIO_InitStruct.Speed = GPIO_SPEED_FREQ_VERY_HIGH;
  GPIO_InitStruct.Alternate = GPIO_AF12_SDMMC1;
  HAL_GPIO_Init(GPIOD, &GPIO_InitStruct);

  /*Configure GPIO pins : PB3 PB4 PB5 */
  GPIO_InitStruct.Pin = GPIO_PIN_3|GPIO_PIN_4|GPIO_PIN_5;
  GPIO_InitStruct.Mode = GPIO_MODE_AF_PP;
  GPIO_InitStruct.Pull = GPIO_NOPULL;
  GPIO_InitStruct.Speed = GPIO_SPEED_FREQ_VERY_HIGH;
  GPIO_InitStruct.Alternate = GPIO_AF6_SPI3;
  HAL_GPIO_Init(GPIOB, &GPIO_InitStruct);

  /*Configure GPIO pins : PB8 PB9 */
  GPIO_InitStruct.Pin = GPIO_PIN_8|GPIO_PIN_9;
  GPIO_InitStruct.Mode = GPIO_MODE_AF_OD;
  GPIO_InitStruct.Pull = GPIO_PULLUP;
  GPIO_InitStruct.Speed = GPIO_SPEED_FREQ_VERY_HIGH;
  GPIO_InitStruct.Alternate = GPIO_AF4_I2C1;
  HAL_GPIO_Init(GPIOB, &GPIO_InitStruct);

  /*Configure GPIO pin : PE0 */
  GPIO_InitStruct.Pin = GPIO_PIN_0;
  GPIO_InitStruct.Mode = GPIO_MODE_AF_PP;
  GPIO_InitStruct.Pull = GPIO_NOPULL;
  GPIO_InitStruct.Speed = GPIO_SPEED_FREQ_LOW;
  GPIO_InitStruct.Alternate = GPIO_AF2_TIM4;
  HAL_GPIO_Init(GPIOE, &GPIO_InitStruct);

  /* EXTI interrupt init*/
  HAL_NVIC_SetPriority(EXTI0_IRQn, 0, 0);
  HAL_NVIC_EnableIRQ(EXTI0_IRQn);

}

/* USER CODE BEGIN 4 */
void HAL_GPIO_EXTI_Callback(uint16_t GPIO_Pin)
{
  if (GPIO_Pin == GPIO_PIN_0) {
    con_HAL_GPIO_EXTI_Callback();
  } else {
    __NOP();
  }
}

void HAL_ADC_ConvCpltCallback(ADC_HandleTypeDef *hadc)
{
  if (hadc == &hadc1) {
    con_HAL_ADC_ConvCpltCallback();
  } else {
    __NOP();
  }
}

void HAL_UART_TxCpltCallback(UART_HandleTypeDef *huart)
{
  if (huart == &hlpuart1) {
    con_HAL_UART_TxCpltCallback();
  } else {
    __NOP();
  }
}

void HAL_UART_RxCpltCallback(UART_HandleTypeDef *huart)
{
  if (huart == &hlpuart1) {
    con_HAL_UART_RxCpltCallback();
  } else {
    __NOP();
  }
}
/* USER CODE END 4 */

void Error_Handler(void)
{
  __disable_irq();
  while (1)
  {
  }
}
